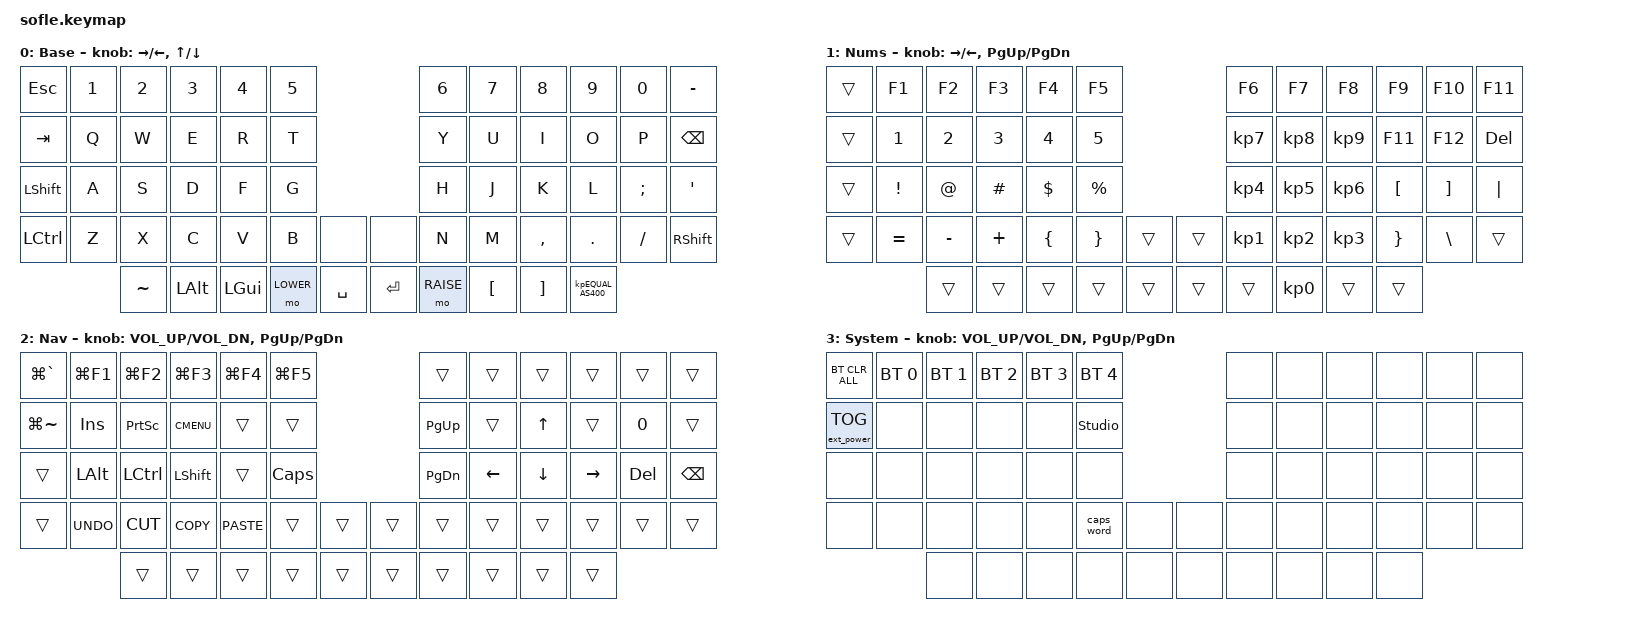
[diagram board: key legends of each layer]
/*
 * Copyright (c) 2020 The ZMK Contributors
 *
 * SPDX-License-Identifier: MIT
 */

#include <behaviors.dtsi>
#include <dt-bindings/zmk/bt.h>
#include <dt-bindings/zmk/ext_power.h>
#include <dt-bindings/zmk/keys.h>

// Encoders

&sensors { triggers-per-rotation = <30>; };

&left_encoder { steps = <60>; };

&right_encoder { steps = <60>; };

#define BASE 0
#define LOWER 1
#define RAISE 2
#define ADJUST 3

/ {
    // Activate ADJUST layer by pressing raise and lower

    conditional_layers {
        compatible = "zmk,conditional-layers";

        adjust_layer {
            if-layers = <LOWER RAISE>;
            then-layer = <ADJUST>;
        };
    };

    combos {
        compatible = "zmk,combos";

        delete {
            bindings = <&kp DELETE>;
            key-positions = <23 36>;
        };

        permbase {
            bindings = <&to 0>;
            key-positions = <43 0>;
        };

        permnums {
            bindings = <&to 1>;
            key-positions = <43 1>;
        };

        permnav {
            bindings = <&to 2>;
            key-positions = <43 2>;
        };

        permsys {
            bindings = <&to 3>;
            key-positions = <43 3>;
        };
    };

    behaviors {
        caps: caps {
            compatible = "zmk,behavior-caps-word";
            label = "CAPS";
            #binding-cells = <0>;
            continue-list = <POUND MINUS BACKSPACE UNDERSCORE>;
        };
    };

    keymap {
        compatible = "zmk,keymap";

        default_layer {
            display-name = "Base";

            // ------------------------------------------------------------------------------------------------------------
            // |   `   |  1  |  2  |  3   |  4   |  5   |                   |  6   |  7    |  8    |  9   |   0   |       |
            // |  ESC  |  Q  |  W  |  E   |  R   |  T   |                   |  Y   |  U    |  I    |  O   |   P   | BKSPC |
            // |  TAB  |  A  |  S  |  D   |  F   |  G   |                   |  H   |  J    |  K    |  L   |   ;   |   '   |
            // | SHIFT |  Z  |  X  |  C   |  V   |  B   |  MUTE  |  |       |  N   |  M    |  ,    |  .   |   /   | SHIFT |
            //               | GUI | ALT  | CTRL | LOWER|  ENTER |  | SPACE | RAISE| CTRL  | ALT   | GUI  |

            bindings = <
&kp ESCAPE        &kp N1  &kp N2     &kp N3    &kp N4        &kp N5                           &kp N6     &kp N7            &kp N8             &kp N9              &kp N0    &kp MINUS
&kp TAB           &kp Q   &kp W      &kp E     &kp R         &kp T                            &kp Y      &kp U             &kp I              &kp O               &kp P     &kp BSPC
&kp LEFT_SHIFT    &kp A   &kp S      &kp D     &kp F         &kp G                            &kp H      &kp J             &kp K              &kp L               &kp SEMI  &kp SQT
&kp LEFT_CONTROL  &kp Z   &kp X      &kp C     &kp V         &kp B      &none        &none    &kp N      &kp M             &kp COMMA          &kp DOT             &kp FSLH  &kp RSHFT
                          &kp TILDE  &kp LALT  &kp LEFT_GUI  &mo LOWER  &kp SPACE    &kp RET  &mo RAISE  &kp LEFT_BRACKET  &kp RIGHT_BRACKET  &kp KP_EQUAL_AS400
            >;

            sensor-bindings =
                <&inc_dec_kp RIGHT_ARROW LEFT_ARROW>,
                <&inc_dec_kp UP_ARROW DOWN_ARROW>;
        };

        lower_layer {
            display-name = "Nums";

            // TODO: Some binds are waiting for shifted keycode support.
            // ------------------------------------------------------------------------------------------------------------
            // |       |  F1 |  F2 |  F3  |  F4  |  F5  |                   |  F6  |  F7   |  F8   |  F9  |  F10  |  F11  |
            // |   `   |  1  |  2  |  3   |  4   |  5   |                   |  6   |  7    |  8    |  9   |   0   |  F12  |
            // |       |  !  |  @  |  #   |  $   |  %   |                   |  ^   |  &    |  *    |  (   |   )   |   |   |
            // |       |  =  |  -  |  +   |  {   |  }   |        |  |       |  [   |  ]    |  ;    |  :   |   \   |       |
            //               |     |      |      |      |        |  |       |      |       |       |      |

            bindings = <
&trans  &kp F1        &kp F2     &kp F3    &kp F4    &kp F5                       &kp F6           &kp F7           &kp F8           &kp F9            &kp F10            &kp F11
&trans  &kp NUMBER_1  &kp N2     &kp N3    &kp N4    &kp N5                       &kp KP_NUMBER_7  &kp KP_NUMBER_8  &kp KP_NUMBER_9  &kp F11           &kp F12            &kp DEL
&trans  &kp EXCL      &kp AT     &kp HASH  &kp DLLR  &kp PRCNT                    &kp KP_NUMBER_4  &kp KP_NUMBER_5  &kp KP_NUMBER_6  &kp LEFT_BRACKET  &kp RIGHT_BRACKET  &kp PIPE
&trans  &kp EQUAL     &kp MINUS  &kp PLUS  &kp LBRC  &kp RBRC   &trans    &trans  &kp KP_NUMBER_1  &kp KP_NUMBER_2  &kp KP_NUMBER_3  &kp RIGHT_BRACE   &kp BACKSLASH      &trans
                      &trans     &trans    &trans    &trans     &trans    &trans  &trans           &kp KP_NUMBER_0  &trans           &trans
            >;

            sensor-bindings =
                <&inc_dec_kp RIGHT_ARROW LEFT_ARROW>,
                <&inc_dec_kp PAGE_UP PAGE_DOWN>;
        };

        raise_layer {
            display-name = "Nav";

            // ------------------------------------------------------------------------------------------------------------
            // | BTCLR | BT1  | BT2  |  BT3  |  BT4  |  BT5 |                |      |      |       |      |       |       |
            // |       | INS  | PSCR | GUI   |       |      |                | PGUP |      |   ^   |      |       |       |
            // |       | ALT  | CTRL | SHIFT |       | CAPS |                | PGDN |   <- |   v   |  ->  |  DEL  | BKSPC |
            // |       | UNDO | CUT  | COPY  | PASTE |      |      |  |      |      |      |       |      |       |       |
            //                |      |       |       |      |      |  |      |      |      |       |      |

            bindings = <
&kp LG(GRAVE)  &kp LG(F1)  &kp LG(F2)  &kp LG(F3)   &kp LG(F4)   &kp LG(F5)                    &trans     &trans    &trans    &trans     &trans   &trans
&kp LG(TILDE)  &kp INS     &kp PSCRN   &kp K_CMENU  &trans       &trans                        &kp PG_UP  &trans    &kp UP    &trans     &kp N0   &trans
&trans         &kp LALT    &kp LCTRL   &kp LSHFT    &trans       &kp CLCK                      &kp PG_DN  &kp LEFT  &kp DOWN  &kp RIGHT  &kp DEL  &kp BSPC
&trans         &kp K_UNDO  &kp K_CUT   &kp K_COPY   &kp K_PASTE  &trans      &trans    &trans  &trans     &trans    &trans    &trans     &trans   &trans
                           &trans      &trans       &trans       &trans      &trans    &trans  &trans     &trans    &trans    &trans
            >;

            sensor-bindings = <&inc_dec_kp C_VOL_UP C_VOL_DN &inc_dec_kp PG_UP PG_DN>;
        };

        adjust_layer {
            // ----------------------------------------------------------------------------------------------------------------------------
            // | BTCLR  |  BT1    |  BT2    |   BT3   |   BT4   |   BT5   |                  |      |      |       |      |       |       |
            // | EXTPWR | RGB_HUD | RGB_HUI | RGB_SAD | RGB_SAI | RGB_EFF |                  |      |      |       |      |       |       |
            // |        | RGB_BRD | RGB_BRI |         |         |         |                  |      |      |       |      |       |       |
            // |        |         |         |         |         |         | RGB_TOG | |      |      |      |       |      |       |       |
            //                    |         |         |         |         |         | |      |      |      |       |      |

            display-name = "System";
            bindings = <
&bt BT_CLR_ALL     &bt BT_SEL 0  &bt BT_SEL 1  &bt BT_SEL 2  &bt BT_SEL 3  &bt BT_SEL 4                    &none  &none  &none  &none  &none  &none
&ext_power EP_TOG  &none         &none         &none         &none         &studio_unlock                  &none  &none  &none  &none  &none  &none
&none              &none         &none         &none         &none         &none                           &none  &none  &none  &none  &none  &none
&none              &none         &none         &none         &none         &caps_word      &none    &none  &none  &none  &none  &none  &none  &none
                                 &none         &none         &none         &none           &none    &none  &none  &none  &none  &none
            >;

            sensor-bindings = <&inc_dec_kp C_VOL_UP C_VOL_DN &inc_dec_kp PG_UP PG_DN>;
        };
    };
};
